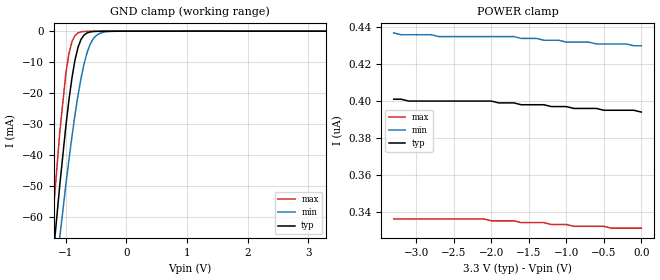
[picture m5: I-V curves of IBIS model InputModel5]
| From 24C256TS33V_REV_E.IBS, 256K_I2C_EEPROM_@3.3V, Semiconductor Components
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|**********************InputModel5**********************************
[Model]   InputModel5
Model_type   Input
|   Model for pin WP
Vinl =  0.99V
Vinh =  2.31V
C_comp   6.00pF   6.00pF   6.00pF
[Temperature Range] 25.00   125.00   -40.00
[Voltage Range]   3.30V   3.00V   3.60V
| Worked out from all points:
|   GND clamp passes 1 mA (typ) near -0.68 V on its own axis
[GND_clamp]
| voltage   I(typ)   I(min)   I(max)
-3.3V     -592mA     -512mA     -717mA
-1.3V     -92.4mA    -102mA     -83.2mA
-1.2V     -70.2mA    -83.9mA    -56.3mA
-1.1V     -49.3mA    -66.1mA    -32.2mA
-1V       -30.4mA    -49.3mA    -13.4mA
-950mV    -22.1mA    -41.4mA    -7.17mA
-900mV    -15mA      -33.9mA    -3.33mA
-800mV    -5.18mA    -20.6mA    -546uA
-700mV    -1.23mA    -10.5mA    -85.1uA
-600mV    -247uA     -4.23mA    -19.2uA
-400mV    -13.2uA    -418uA     -6.42uA
3.3V      394nA      431nA      330nA
[POWER_clamp]
| Voltages for [POWER_clamp] are specified with
| negative respect to Vcc.  Reference the IBIS documentation
| for more information regarding Vtable = Vcc - Voutput.
| voltage   I(typ)   I(min)   I(max)
-3.3V     401nA      437nA      336nA
-3.2V     401nA      436nA      336nA
-3.1V     400nA      436nA      336nA
-2.8V     400nA      436nA      336nA
-2.7V     400nA      435nA      336nA
-2.1V     400nA      435nA      336nA
-2V       400nA      435nA      335nA
-1.7V     399nA      435nA      335nA
-900mV    396nA      432nA      332nA
-200mV    395nA      431nA      331nA
-100mV    395nA      430nA      331nA
0V        394nA      430nA      331nA
